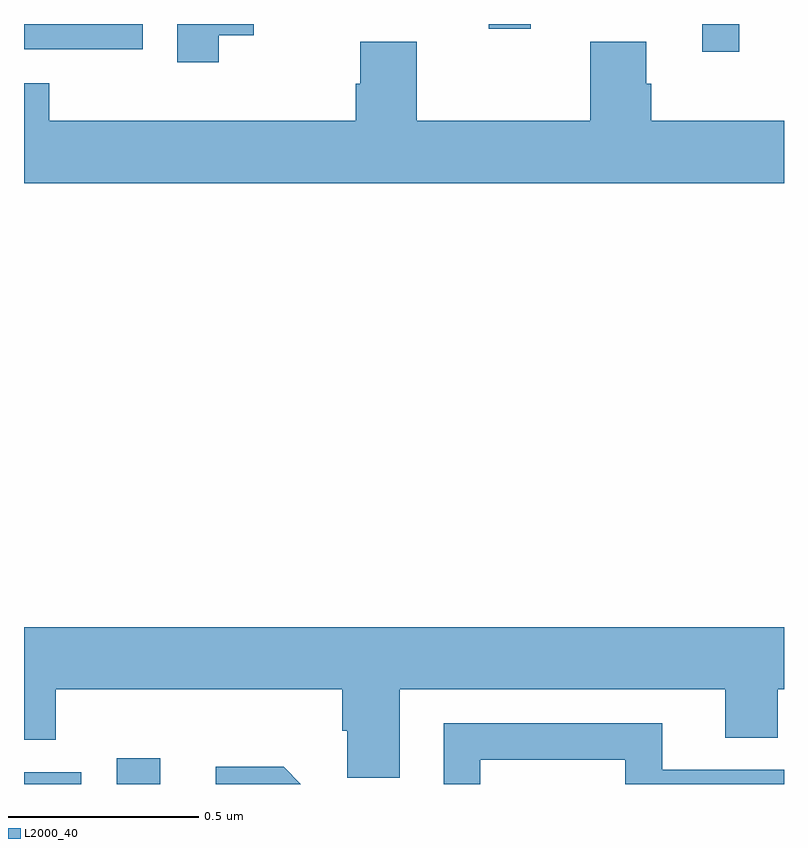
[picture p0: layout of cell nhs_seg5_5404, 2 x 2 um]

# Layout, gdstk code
import gdstk
lib = gdstk.Library(unit=1e-6, precision=1e-09)
def R(c, l, rs):  # rectangles x0, y0, x1, y1
    for r in rs: c.add(gdstk.rectangle(r[:2], r[2:], *l))
def P(c, l, *ps):  # polygons
    for p in ps: c.add(gdstk.Polygon(p, *l))
L2000_40 = (2000, 40)

nhs_seg5_5404 = lib.new_cell('nhs_seg5_5404')
R(nhs_seg5_5404, L2000_40, [(182,901.799,182.151,901.83), (182.244,901.799,182.359,901.867), (183.785,903.726,183.882,903.799), (182,903.732,182.313,903.799), (183.223,903.786,183.334,903.799)])
P(nhs_seg5_5404, L2000_40, [(182.512,903.769),(182.604,903.769),(182.604,903.799),(182.403,903.799),(182.403,903.699),(182.512,903.699)],
  [(184,903.544),(183.65,903.544),(183.65,903.642),(183.637,903.642),(183.637,903.752),(183.49,903.752),(183.49,903.544),(183.033,903.544),(183.033,903.752),(182.885,903.752),(182.885,903.642),(182.873,903.642),(182.873,903.544),(182.066,903.544),(182.066,903.643),(182,903.643),(182,903.38),(184,903.38)],
  [(182.989,902.048),(183.845,902.048),(183.845,901.921),(183.984,901.921),(183.984,902.048),(184,902.048),(184,902.212),(182,902.212),(182,901.915),(182.084,901.915),(182.084,902.048),(182.837,902.048),(182.837,901.939),(182.85,901.939),(182.85,901.816),(182.989,901.816)],
  [(183.201,901.863),(183.582,901.863),(183.582,901.799),(184,901.799),(184,901.836),(183.679,901.836),(183.679,901.959),(183.105,901.959),(183.105,901.799),(183.201,901.799)],
  [(182.683,901.844),(182.505,901.844),(182.505,901.799),(182.728,901.799)])

lib.write_gds('nhs_seg5_5404.gds')
